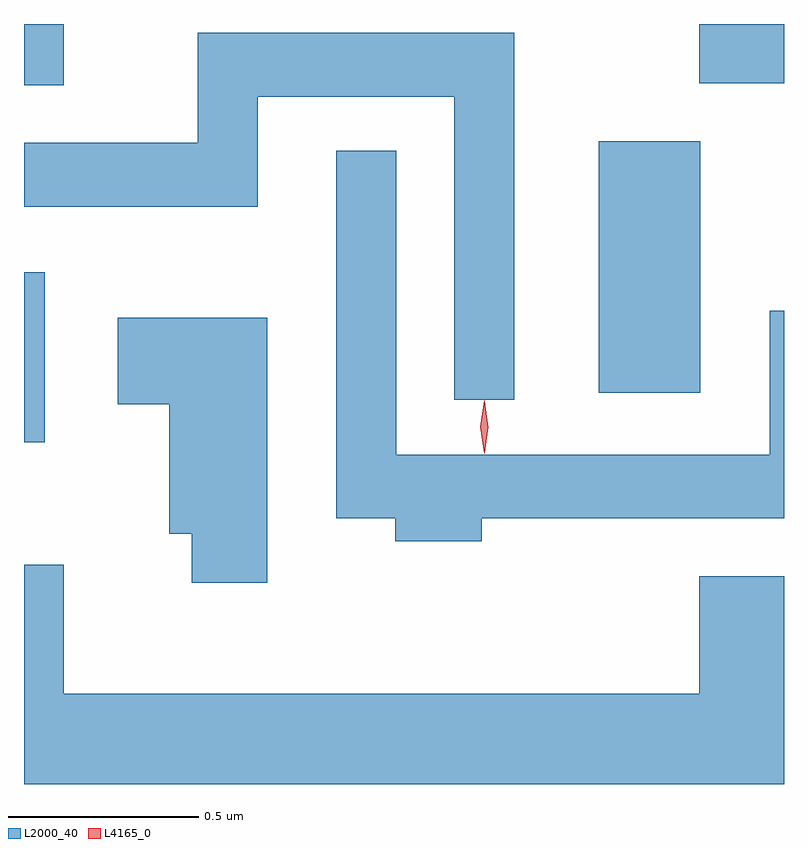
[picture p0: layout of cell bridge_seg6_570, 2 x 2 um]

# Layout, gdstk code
import gdstk
lib = gdstk.Library(unit=1e-6, precision=1e-09)
def R(c, l, rs):  # rectangles x0, y0, x1, y1
    for r in rs: c.add(gdstk.rectangle(r[:2], r[2:], *l))
def P(c, l, *ps):  # polygons
    for p in ps: c.add(gdstk.Polygon(p, *l))
L2000_40 = (2000, 40)
L4165_0 = (4165, 0)

bridge_seg6_570 = lib.new_cell('bridge_seg6_570')
R(bridge_seg6_570, L2000_40, [(445.734,1637.546,445.789,1637.994), (447.246,1637.676,447.514,1638.339), (445.734,1638.486,445.839,1638.647), (447.511,1638.491,447.734,1638.647)])
P(bridge_seg6_570, L2000_40, [(447.024,1638.624),(446.191,1638.624),(446.191,1638.334),(445.734,1638.334),(445.734,1638.166),(446.349,1638.166),(446.349,1638.456),(446.866,1638.456),(446.866,1637.658),(447.024,1637.658)],
  [(446.939,1637.346),(447.734,1637.346),(447.734,1637.893),(447.696,1637.893),(447.696,1637.514),(446.714,1637.514),(446.714,1638.313),(446.556,1638.313),(446.556,1637.346),(446.711,1637.346),(446.711,1637.286),(446.939,1637.286)],
  [(446.374,1637.874),(445.981,1637.874),(445.981,1637.646),(446.116,1637.646),(446.116,1637.306),(446.176,1637.306),(446.176,1637.176),(446.374,1637.176)],
  [(447.734,1637.194),(447.511,1637.194),(447.511,1636.884),(445.839,1636.884),(445.839,1637.224),(445.734,1637.224),(445.734,1636.647),(447.734,1636.647)])
P(bridge_seg6_570, L4165_0, [(446.945,1637.517),(446.945,1637.517),(446.935,1637.587),(446.945,1637.656),(446.945,1637.656),(446.946,1637.656),(446.955,1637.587),(446.946,1637.517)],
  [(446.946,1637.52),(446.946,1637.52),(446.936,1637.586),(446.946,1637.652),(446.946,1637.653),(446.947,1637.652),(446.956,1637.586),(446.947,1637.52)])

lib.write_gds('bridge_seg6_570.gds')
